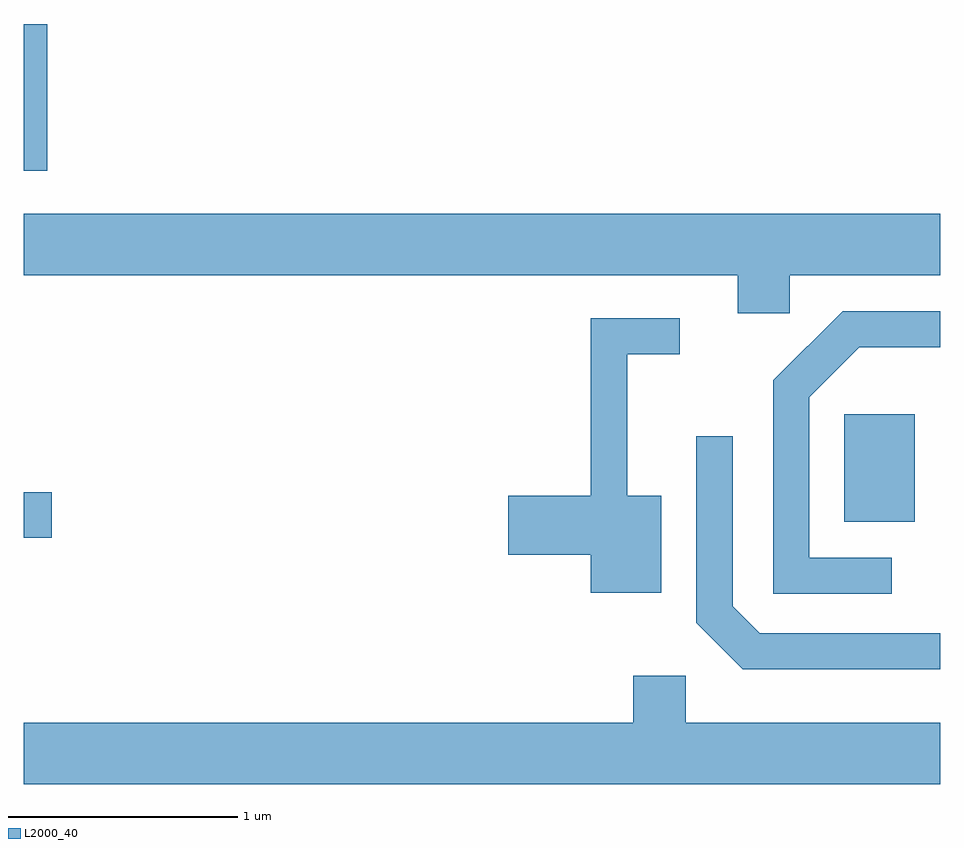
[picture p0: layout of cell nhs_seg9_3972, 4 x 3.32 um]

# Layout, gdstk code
import gdstk
lib = gdstk.Library(unit=1e-6, precision=1e-09)
def R(c, l, rs):  # rectangles x0, y0, x1, y1
    for r in rs: c.add(gdstk.rectangle(r[:2], r[2:], *l))
def P(c, l, *ps):  # polygons
    for p in ps: c.add(gdstk.Polygon(p, *l))
L2000_40 = (2000, 40)

nhs_seg9_3972 = lib.new_cell('nhs_seg9_3972')
R(nhs_seg9_3972, L2000_40, [(301.611,2026.191,301.734,2026.389), (305.191,2026.261,305.499,2026.729), (301.611,2027.791,301.714,2028.432)])
P(nhs_seg9_3972, L2000_40, [(304.954,2027.336),(305.611,2027.336),(305.611,2027.604),(301.611,2027.604),(301.611,2027.336),(304.726,2027.336),(304.726,2027.171),(304.954,2027.171)],
  [(305.398,2026.104),(305.039,2026.104),(305.039,2026.804),(305.257,2027.021),(305.611,2027.021),(305.611,2027.179),(305.184,2027.179),(304.881,2026.877),(304.881,2025.946),(305.398,2025.946)],
  [(304.394,2026.374),(304.244,2026.374),(304.244,2026.991),(304.473,2026.991),(304.473,2027.149),(304.086,2027.149),(304.086,2026.374),(303.726,2026.374),(303.726,2026.116),(304.086,2026.116),(304.086,2025.951),(304.394,2025.951)],
  [(305.611,2025.774),(304.822,2025.774),(304.704,2025.892),(304.704,2026.633),(304.546,2026.633),(304.546,2025.819),(304.749,2025.616),(305.611,2025.616)],
  [(305.611,2025.384),(304.499,2025.384),(304.499,2025.589),(304.271,2025.589),(304.271,2025.384),(301.611,2025.384),(301.611,2025.116),(305.611,2025.116)])

lib.write_gds('nhs_seg9_3972.gds')
